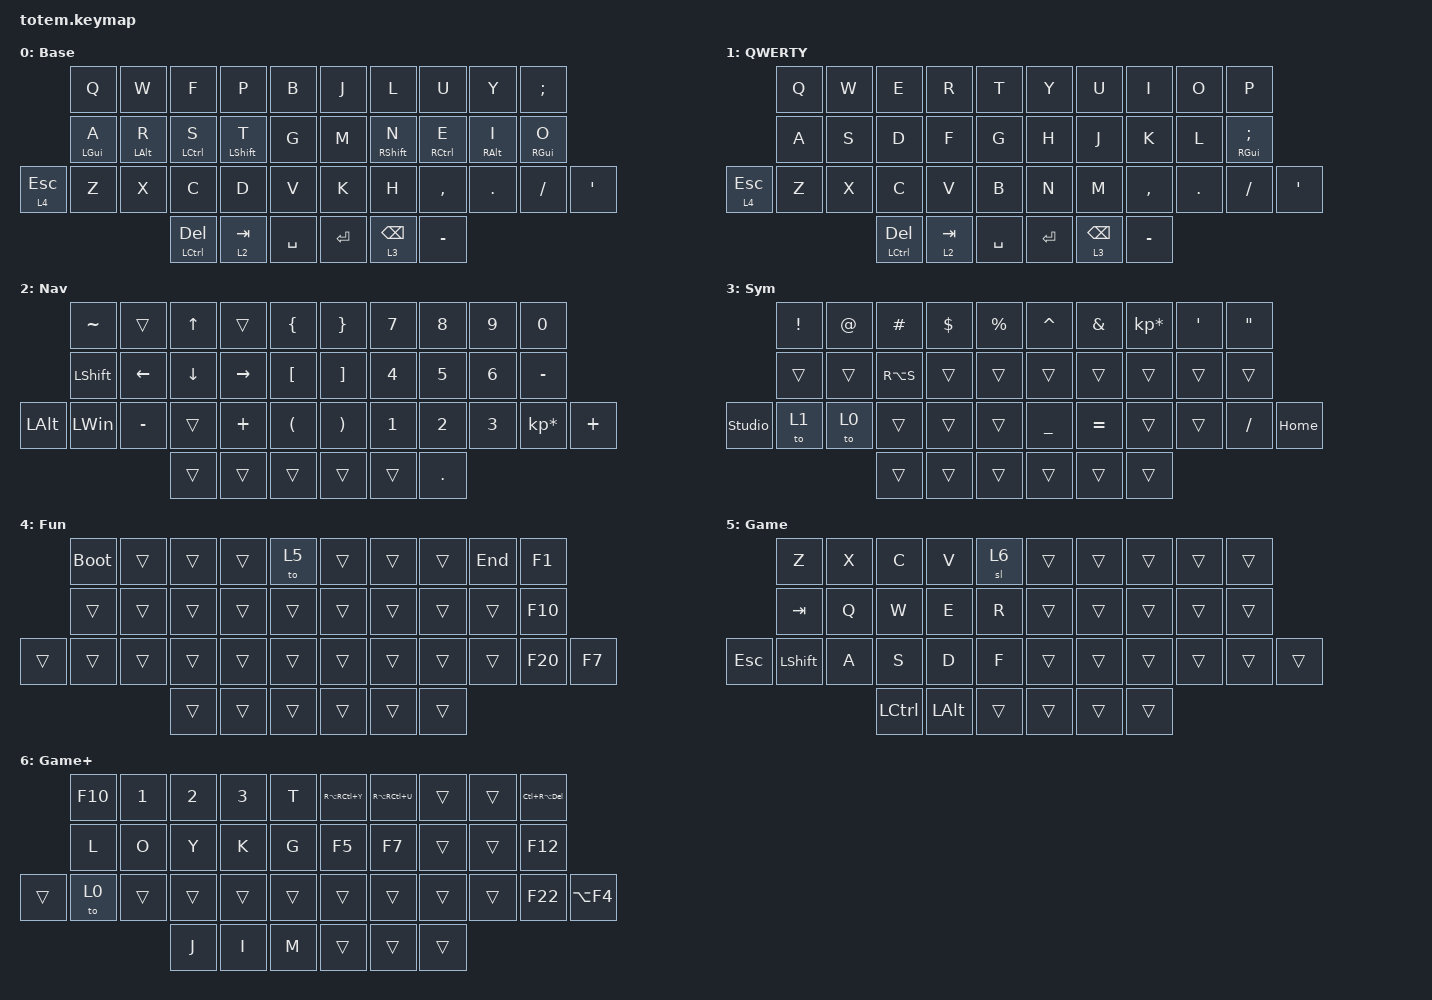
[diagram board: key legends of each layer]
//
//                                                        ▀▀▀▀▀     ▀▀▀▀▀          ▀▀█▀▀
//                                                        ▄▀▀▀▄  ▄  ▄▀▀▀▄  ▄  ▄▀▀▀▄  █  ▄▀▀▀▄
//                                                        █   █  █  █   █  █  █   █  █  █   █
//                                                         ▀▀▀   █   ▀▀▀   █   ▀▀▀   ▀   ▀▀▀
//                                                               █      ▄▄▄█▄▄▄    █   █  
//                                                               ▀      █  █  █     █▄█
//                                                             ▀▀▀▀▀    █  █  █      ▀
//                                                                      ▀  ▀  ▀
//
// ▄▄▄▄▄▄▄▄▄▄▄▄▄▄▄▄▄▄▄▄▄▄▄▄▄▄▄▄▄▄▄▄▄▄▄▄▄▄▄▄▄▄▄▄▄▄▄▄▄▄▄▄▄▄▄▄▄▄▄▄▄▄▄▄▄▄▄▄▄▄▄▄▄▄▄▄▄▄▄▄▄▄▄▄▄▄▄▄▄▄▄▄▄▄▄▄▄▄▄▄▄▄▄▄▄▄▄▄▄▄▄▄▄▄▄▄▄▄▄▄▄▄▄▄▄▄▄▄▄▄▄▄▄▄▄▄▄▄▄▄▄▄▄▄▄▄▄▄▄

#include <behaviors.dtsi>
#include <dt-bindings/zmk/keys.h>

#define Base        0
#define Nav         1
#define Sym         2
#define Fun         3
#define Game        4
#define Gameplus    5
#define QWERTY      6

&mt {
    quick-tap-ms = <100>;
    global-quick-tap;
    flavor = "tap-preferred";
    tapping-term-ms = <170>;
};

&lt {
    tapping-term-ms = <240>;
    flavor = "balanced";
    quick-tap-ms = <150>;
};

/ {
    behaviors {
        hm: homerow_mods {
            compatible = "zmk,behavior-hold-tap";
            label = "HOMEROW_MODS";
            #binding-cells = <2>;
            flavor = "balanced";
            tapping-term-ms = <280>;
            quick-tap-ms = <175>;
            global-quick-tap;
            bindings = <&kp>, <&kp>;

            require-prior-idle-ms = <150>;
            hold-trigger-on-release;
        };
    };

    combos { compatible = "zmk,combos"; };

    keymap {
        compatible = "zmk,keymap";

        Base {
            display-name = "Base";
            bindings = <
              &kp Q       &kp W       &kp F          &kp P         &kp B        &kp J    &kp L        &kp U        &kp Y       &kp SEMICOLON
              &hm LGUI A  &hm LALT R  &hm LCTRL S    &hm LSHIFT T  &kp G        &kp M    &hm RSHFT N  &hm RCTRL E  &hm RALT I  &hm RGUI O
&lt 4 ESCAPE  &kp Z       &kp X       &kp C          &kp D         &kp V        &kp K    &kp H        &kp COMMA    &kp DOT     &kp SLASH      &kp APOSTROPHE
                                      &mt LCTRL DEL  &lt 2 TAB     &kp SPACE    &kp RET  &lt 3 BSPC   &kp MINUS
            >;
        };

        QWERTY {
            display-name = "QWERTY";
            bindings = <
              &kp Q  &kp W  &kp E          &kp R      &kp T        &kp Y    &kp U       &kp I      &kp O    &kp P
              &kp A  &kp S  &kp D          &kp F      &kp G        &kp H    &kp J       &kp K      &kp L    &hm RGUI SEMICOLON
&lt 4 ESCAPE  &kp Z  &kp X  &kp C          &kp V      &kp B        &kp N    &kp M       &kp COMMA  &kp DOT  &kp SLASH           &kp APOSTROPHE
                            &mt LCTRL DEL  &lt 2 TAB  &kp SPACE    &kp RET  &lt 3 BSPC  &kp MINUS
            >;
        };

        Nav {
            display-name = "Nav";
            bindings = <
              &kp TILDE       &trans     &kp UP_ARROW  &trans     &kp LBRC    &kp RBRC  &kp NUMBER_7  &kp NUMBER_8  &kp NUMBER_9  &kp NUMBER_0
              &kp LEFT_SHIFT  &kp LEFT   &kp DOWN      &kp RIGHT  &kp LBKT    &kp RBKT  &kp NUMBER_4  &kp NUMBER_5  &kp NUMBER_6  &kp MINUS
&kp LEFT_ALT  &kp LEFT_WIN    &kp MINUS  &trans        &kp PLUS   &kp LPAR    &kp RPAR  &kp NUMBER_1  &kp NUMBER_2  &kp NUMBER_3  &kp KP_MULTIPLY  &kp PLUS
                                         &trans        &trans     &trans      &trans    &trans        &kp DOT
            >;
        };

        Sym {
            display-name = "Sym";
            bindings = <
                &kp EXCL  &kp AT  &kp HASH   &kp DOLLAR  &kp PERCENT    &kp CARET  &kp AMPERSAND  &kp KP_ASTERISK  &kp SQT  &kp DQT
                &trans    &trans  &kp RA(S)  &trans      &trans         &trans     &trans         &trans           &trans   &trans
&studio_unlock  &to 1     &to 0   &trans     &trans      &trans         &kp UNDER  &kp EQUAL      &trans           &trans   &kp SLASH  &kp HOME
                                  &trans     &trans      &trans         &trans     &trans         &trans
            >;
        };

        Fun {
            display-name = "Fun";
            bindings = <
        &bootloader  &trans  &trans  &trans  &to 5     &trans  &trans  &trans  &kp END  &kp F1
        &trans       &trans  &trans  &trans  &trans    &trans  &trans  &trans  &trans   &kp F10
&trans  &trans       &trans  &trans  &trans  &trans    &trans  &trans  &trans  &trans   &kp F20  &kp F7
                             &trans  &trans  &trans    &trans  &trans  &trans
            >;
        };

        Gaming {
            display-name = "Game";
            bindings = <
            &kp Z           &kp X  &kp C      &kp V         &sl 6     &trans  &trans  &trans  &trans  &trans
            &kp TAB         &kp Q  &kp W      &kp E         &kp R     &trans  &trans  &trans  &trans  &trans
&kp ESCAPE  &kp LEFT_SHIFT  &kp A  &kp S      &kp D         &kp F     &trans  &trans  &trans  &trans  &trans  &trans
                                   &kp LCTRL  &kp LEFT_ALT  &trans    &trans  &trans  &trans
            >;
        };

        Gaming+ {
            display-name = "Game+";
            bindings = <
        &kp F10  &kp NUMBER_1  &kp NUMBER_2  &kp NUMBER_3  &kp T     &kp RA(RC(Y))  &kp RA(RC(U))  &trans  &trans  &kp LC(RA(DEL))
        &kp L    &kp O         &kp Y         &kp K         &kp G     &kp F5         &kp F7         &trans  &trans  &kp F12
&trans  &to 0    &trans        &trans        &trans        &trans    &trans         &trans         &trans  &trans  &kp F22          &kp LA(F4)
                               &kp J         &kp I         &kp M     &trans         &trans         &trans
            >;
        };
    };
};
